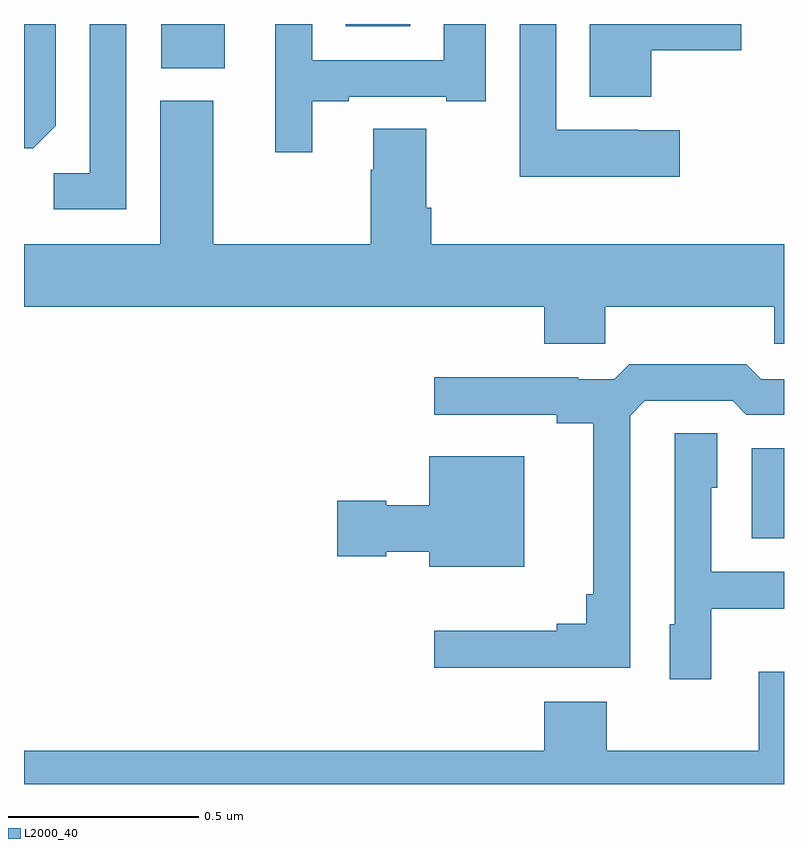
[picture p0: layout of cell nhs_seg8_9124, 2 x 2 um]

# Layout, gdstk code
import gdstk
lib = gdstk.Library(unit=1e-6, precision=1e-09)
def R(c, l, rs):  # rectangles x0, y0, x1, y1
    for r in rs: c.add(gdstk.rectangle(r[:2], r[2:], *l))
def P(c, l, *ps):  # polygons
    for p in ps: c.add(gdstk.Polygon(p, *l))
L2000_40 = (2000, 40)

nhs_seg8_9124 = lib.new_cell('nhs_seg8_9124')
R(nhs_seg8_9124, L2000_40, [(233.915,1126.547,234,1126.783), (232.361,1127.783,232.528,1127.9), (232.847,1127.894,233.017,1127.9)])
P(nhs_seg8_9124, L2000_40, [(233.725,1127.62),(233.616,1127.62),(233.616,1127.622),(233.4,1127.622),(233.4,1127.9),(233.304,1127.9),(233.304,1127.498),(233.725,1127.498)],
  [(232.083,1127.632),(232.083,1127.9),(232,1127.9),(232,1127.573),(232.024,1127.573)],
  [(232.759,1127.697),(232.855,1127.697),(232.855,1127.709),(233.111,1127.709),(233.111,1127.697),(233.215,1127.697),(233.215,1127.9),(233.105,1127.9),(233.105,1127.805),(232.758,1127.805),(232.758,1127.9),(232.661,1127.9),(232.661,1127.562),(232.759,1127.562)],
  [(232.269,1127.9),(232.173,1127.9),(232.173,1127.507),(232.078,1127.507),(232.078,1127.412),(232.269,1127.412)],
  [(233.651,1127.831),(233.887,1127.831),(233.887,1127.9),(233.489,1127.9),(233.489,1127.708),(233.651,1127.708)],
  [(233.529,1127.156),(233.974,1127.156),(233.974,1127.058),(234,1127.058),(234,1127.32),(233.072,1127.32),(233.072,1127.416),(233.059,1127.416),(233.059,1127.624),(232.919,1127.624),(232.919,1127.516),(232.912,1127.516),(232.912,1127.32),(232.498,1127.32),(232.498,1127.698),(232.358,1127.698),(232.358,1127.32),(232,1127.32),(232,1127.156),(233.369,1127.156),(233.369,1127.058),(233.529,1127.058)],
  [(233.595,1126.869),(233.634,1126.908),(233.865,1126.908),(233.901,1126.872),(234,1126.872),(234,1126.965),(233.94,1126.965),(233.901,1127.005),(233.593,1127.005),(233.553,1126.965),(233.459,1126.965),(233.459,1126.97),(233.079,1126.97),(233.079,1126.872),(233.402,1126.872),(233.402,1126.85),(233.498,1126.85),(233.498,1126.399),(233.479,1126.399),(233.479,1126.322),(233.402,1126.322),(233.402,1126.303),(233.079,1126.303),(233.079,1126.206),(233.595,1126.206)],
  [(233.808,1126.361),(234,1126.361),(234,1126.458),(233.808,1126.458),(233.808,1126.68),(233.824,1126.68),(233.824,1126.823),(233.712,1126.823),(233.712,1126.32),(233.699,1126.32),(233.699,1126.176),(233.808,1126.176)],
  [(233.317,1126.762),(233.066,1126.762),(233.066,1126.633),(232.953,1126.633),(232.953,1126.646),(232.824,1126.646),(232.824,1126.499),(232.953,1126.499),(232.953,1126.511),(233.066,1126.511),(233.066,1126.472),(233.317,1126.472)],
  [(232,1125.9),(234,1125.9),(234,1126.195),(233.933,1126.195),(233.933,1125.988),(233.533,1125.988),(233.533,1126.117),(233.369,1126.117),(233.369,1125.988),(232,1125.988)])

lib.write_gds('nhs_seg8_9124.gds')
